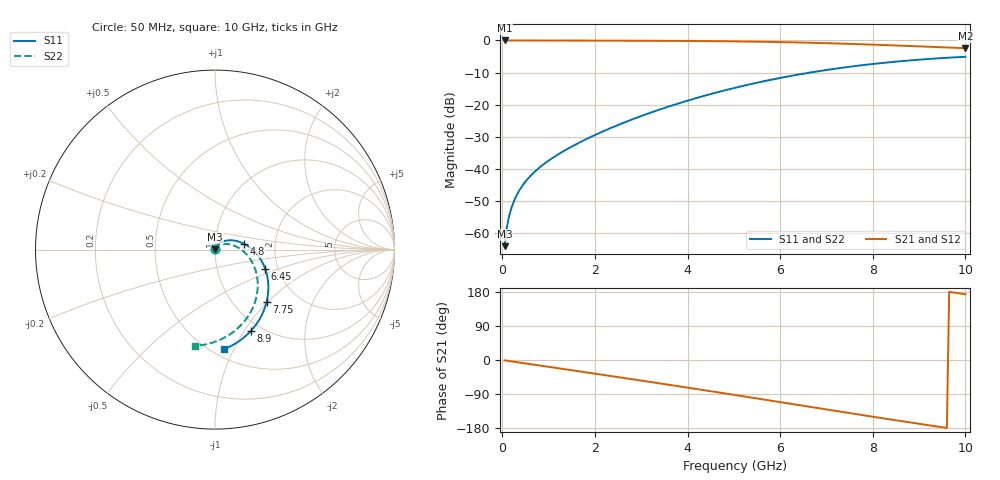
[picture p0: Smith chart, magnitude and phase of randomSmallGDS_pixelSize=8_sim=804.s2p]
! freq	dB(S11)	phase(S11)	dB(S12)	phase(S12)
!  dB(S21)	phase(S21)	dB(S22)	phase(S22)
!S-par simulation data
#  GHz  S  DB  R 50
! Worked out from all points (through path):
!   200 points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, 50 MHz to 10 GHz, reference 50 ohm
!   highest |S21| = 0.00 dB at 50 MHz (marker M1); lowest = -2.4 dB at 10 GHz (marker M2)
!   group delay of S21, straight-line fit = 52.3 ps
!   lowest |S11| = -64.2 dB at 50 MHz (marker M3), VSWR 1.00, Z = 50 + j0.0618 ohm
!   |S11| at or under -10 dB: start of sweep to 6.651 GHz
!   |S22| runs from -64.0 to -5.2 dB; largest |S21 - S12| = 0
!   S11 on the Smith chart (normalised r, x): 50 MHz: 1.00, +0.00; 4.8 GHz: 1.39, +0.09; 6.45 GHz: 1.72, -0.40; 7.75 GHz: 1.40, -0.98; 8.9 GHz: 0.89, -1.07; 10 GHz: 0.57, -0.92
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0.05  -64.16 85.5  -0.00 -0.9  -0.00 -0.9  -63.99 84.9
0.1  -58.15 86.7  -0.00 -1.8  -0.00 -1.8  -57.99 85.5
0.15  -54.62 86.7  -0.00 -2.7  -0.00 -2.7  -54.48 84.8
0.2  -52.11 86.3  -0.00 -3.6  -0.00 -3.6  -51.99 83.8
0.3  -48.56 85.2  -0.01 -5.4  -0.01 -5.4  -48.48 81.7
0.45  -44.97 83.4  -0.01 -8.1  -0.01 -8.1  -44.95 78.5
0.65  -41.63 80.9  -0.01 -11.7  -0.01 -11.7  -41.65 74.4
0.95  -38.00 77.0  -0.02 -17.1  -0.02 -17.1  -38.05 68.4
1.3  -34.72 72.3  -0.03 -23.4  -0.03 -23.4  -34.77 61.5
1.75  -31.23 65.8  -0.04 -31.5  -0.04 -31.5  -31.29 52.7
2.6  -25.78 51.7  -0.06 -46.9  -0.06 -46.9  -25.87 36.3
3.4  -21.54 37.4  -0.10 -61.7  -0.10 -61.7  -21.62 21.2
4.1  -18.35 24.3  -0.16 -74.8  -0.16 -74.8  -18.43 8.1
4.8  -15.57 11.0  -0.25 -88.0  -0.25 -88.0  -15.66 -5.1
5.05  -14.68 6.2  -0.29 -92.8  -0.29 -92.8  -14.77 -9.8
5.75  -12.41 -7.3  -0.44 -106.3  -0.44 -106.3  -12.51 -23.1
6.45  -10.49 -20.8  -0.64 -119.9  -0.64 -119.9  -10.59 -36.5
6.7  -9.89 -25.6  -0.73 -124.7  -0.73 -124.7  -9.99 -41.3
7.75  -7.75 -45.4  -1.18 -145.0  -1.18 -145.0  -7.87 -61.1
8.35  -6.81 -56.4  -1.48 -156.3  -1.48 -156.3  -6.93 -72.3
8.9  -6.11 -66.1  -1.79 -166.6  -1.79 -166.6  -6.24 -82.3
10  -5.09 -84.7  -2.41 173.6  -2.41 173.6  -5.24 -101.8
